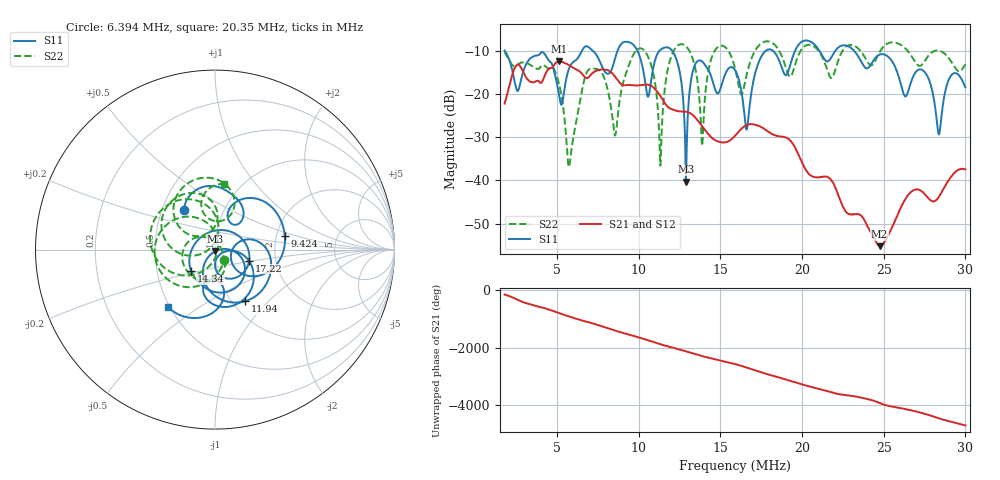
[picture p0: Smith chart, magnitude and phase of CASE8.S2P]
!Agilent Technologies,E5061B,MY49101568,A.02.00
!Date: Wed Mar 01 15:29:31 2023
!Data & Calibration Information:
!Freq	S11:SOLT2(OFF)	S21:SOLT2(OFF)	S12:SOLT2(OFF)	S22:SOLT2(OFF)
# Hz S dB R 50
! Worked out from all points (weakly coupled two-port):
!   1155 points, 1.8 MHz to 30 MHz, reference 50 ohm
!   highest |S21| = -12.48 dB at 5.123 MHz (marker M1); lowest = -55.2 dB at 24.75 MHz (marker M2)
!   lowest |S11| = -40.3 dB at 12.89 MHz (marker M3), VSWR 1.02, Z = 50.1 - j0.955 ohm
!   |S11| at or under -10 dB: 1.813 MHz to 6.535 MHz (4.722 MHz wide, 113 % of centre); 12.05 MHz to 17.79 MHz (5.74 MHz wide, 38.5 % of centre); 23.18 MHz to end of sweep (the widest 3 of 7)
!   |S22| runs from -36.9 to -7.8 dB; largest |S21 - S12| = 0.0031
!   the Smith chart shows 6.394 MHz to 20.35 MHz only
!   S11 on the Smith chart (normalised r, x): 6.394 MHz: 0.65, +0.31; 9.424 MHz: 2.23, +0.40; 11.94 MHz: 1.15, -0.74; 14.34 MHz: 0.75, -0.19; 17.22 MHz: 1.45, -0.18; 20.35 MHz: 0.49, -0.38
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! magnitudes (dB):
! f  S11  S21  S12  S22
! 1.8 MHz  -9.9  -22.3  -22.3  -10.3
! 5.123 MHz  -20.0  -12.5  -12.4  -17.6
! 5.734 MHz  -14.2  -13.3  -13.3  -36.9
! 6.394 MHz  -11.0  -14.8  -14.7  -22.2
! 6.516 MHz  -10.1  -15.3  -15.2  -19.6
! 8.569 MHz  -11.7  -16.1  -16.0  -29.6
! 9.424 MHz  -8.0  -17.9  -17.9  -13.1
! 10.52 MHz  -20.1  -17.8  -17.9  -11.0
! 11.21 MHz  -10.4  -19.8  -19.8  -25.3
! 11.94 MHz  -9.6  -23.4  -23.5  -12.0
! 12.89 MHz  -40.3  -24.1  -24.2  -9.0
! 13.87 MHz  -12.4  -27.4  -27.4  -31.6
! 14.34 MHz  -14.9  -29.6  -29.6  -13.4
! 15.9 MHz  -14.5  -29.7  -29.7  -14.0
! 16.61 MHz  -28.3  -27.2  -27.2  -15.7
! 17.22 MHz  -14.1  -27.2  -27.3  -9.5
! 20.35 MHz  -7.7  -38.2  -38.2  -8.6
! 20.62 MHz  -8.1  -39.1  -39.0  -8.8
! 24.75 MHz  -10.9  -55.2  -55.1  -10.4
! 25.31 MHz  -11.5  -52.5  -52.4  -8.2
! 28.36 MHz  -29.3  -43.9  -43.8  -10.0
! 30 MHz  -18.5  -37.5  -37.4  -13.1
